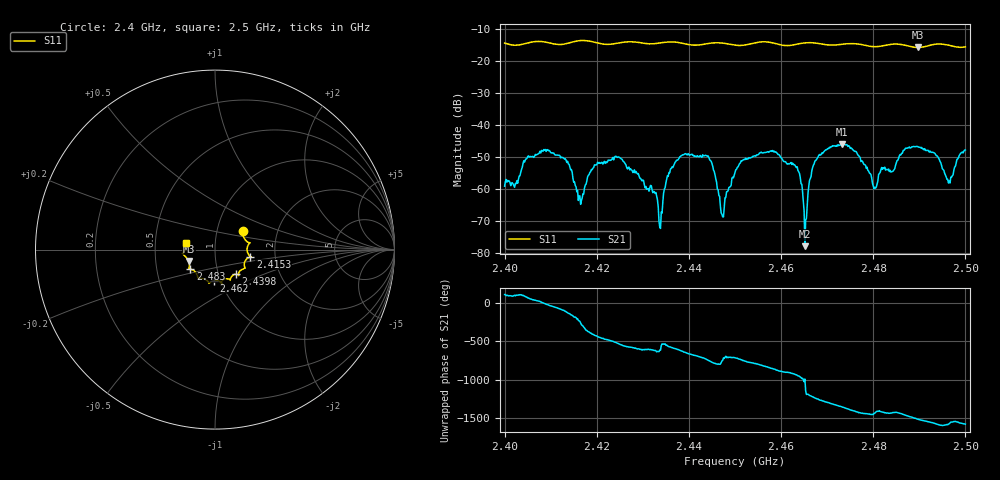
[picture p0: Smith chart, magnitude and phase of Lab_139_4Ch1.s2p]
# Hz S RI R 50
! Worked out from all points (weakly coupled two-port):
!   601 points, 2.4 GHz to 2.5 GHz, reference 50 ohm
!   highest |S21| = -46.19 dB at 2.4732 GHz (marker M1); lowest = -78.0 dB at 2.4652 GHz (marker M2)
!   lowest |S11| = -15.9 dB at 2.4897 GHz (marker M3), VSWR 1.38, Z = 36.9 - j4.81 ohm
!   |S11| at or under -10 dB: start of sweep to end of sweep
!   S12 and S22 are empty: the file has one direction only
!   S11 on the Smith chart (normalised r, x): 2.4 GHz: 1.33, +0.29; 2.4153 GHz: 1.48, -0.12; 2.4398 GHz: 1.21, -0.34; 2.462 GHz: 0.93, -0.33; 2.483 GHz: 0.74, -0.17; 2.5 GHz: 0.72, +0.06
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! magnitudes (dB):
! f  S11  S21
! 2.4 GHz  -14.5  -59.2
! 2.409 GHz  -14.2  -48.4
! 2.4153 GHz  -14.0  -59.0
! 2.4167 GHz  -13.7  -63.7
! 2.4245 GHz  -14.5  -50.2
! 2.4333 GHz  -14.6  -65.6
! 2.4358 GHz  -14.1  -55.0
! 2.4398 GHz  -15.0  -49.1
! 2.4445 GHz  -14.6  -51.0
! 2.4472 GHz  -14.5  -68.1
! 2.45 GHz  -15.1  -54.8
! 2.462 GHz  -15.2  -52.1
! 2.464 GHz  -14.7  -55.3
! 2.4652 GHz  -14.4  -78.0
! 2.4667 GHz  -14.4  -54.4
! 2.4732 GHz  -14.9  -46.2
! 2.4803 GHz  -15.6  -59.6
! 2.483 GHz  -15.1  -54.0
! 2.4833 GHz  -15.0  -53.9
! 2.4897 GHz  -15.9  -46.9
! 2.4963 GHz  -15.2  -58.3
! 2.5 GHz  -15.7  -47.9
